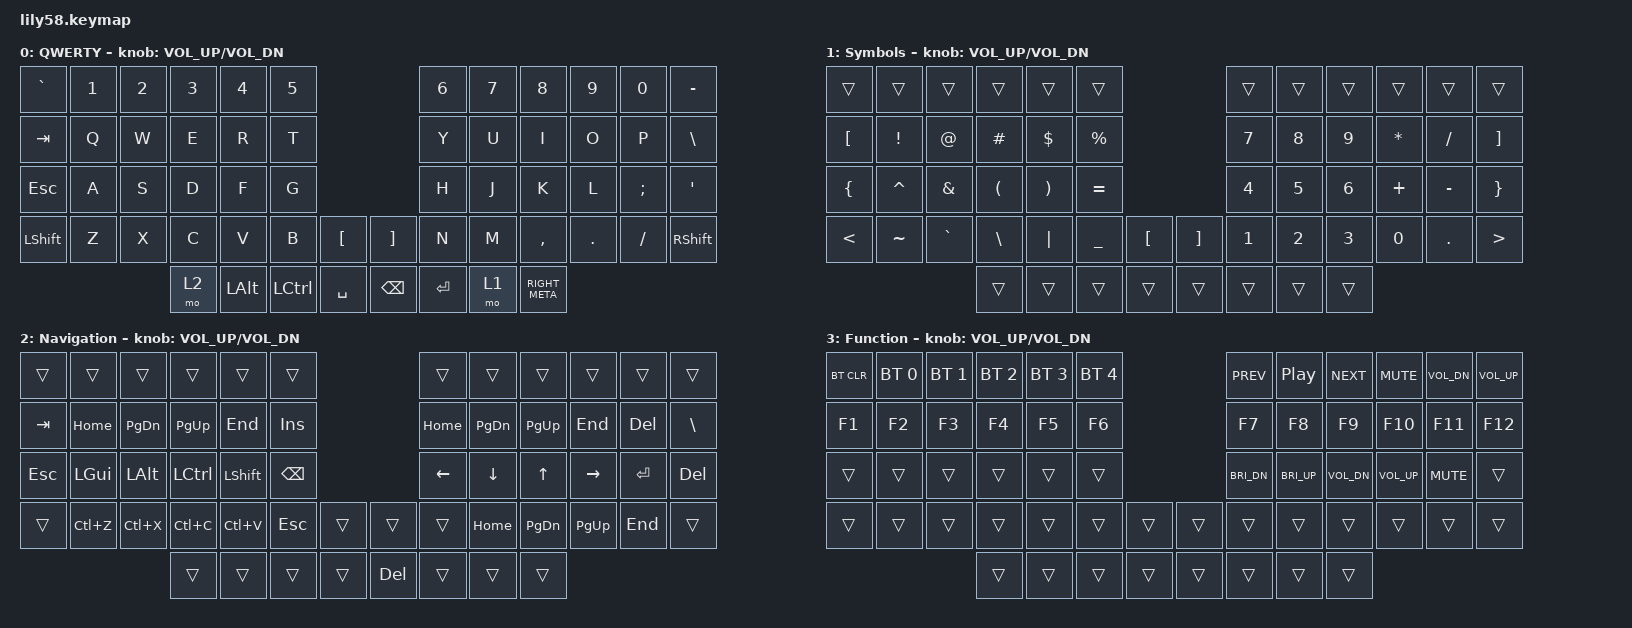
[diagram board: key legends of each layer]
/*
 * Lily58 — QWERTY / Corne-style Programmer / Vim
 *
 * Design goals:
 * - Standard QWERTY alphas for maximum cross-device fluency
 * - Corne-style 3x5 symbol/navigation philosophy; Lily58 extras are conveniences
 * - Dedicated thumb Space / Backspace / Enter
 * - Dedicated modifiers; no HRMs initially
 * - NAV with arrows on physical QWERTY H/J/K/L
 * - Programming symbols + right-hand numpad with no dependence on the number row
 * - Delimiter pairs arranged symmetrically on the symbol layer
 * - Tri-layer FN with Bluetooth/F/media controls
 * - Plain QWERTY gaming layer with no layer-tap leakage
 * - Preserve rotary encoder volume on every layer
 */

#include <behaviors.dtsi>
#include <dt-bindings/zmk/bt.h>
#include <dt-bindings/zmk/keys.h>

#define BASE 0
#define SYM  1
#define NAV  2
#define FN   3
#define GAME 4

/ {
    /*
     * SYM + NAV -> FN. FN is a higher layer than either input layer, as ZMK's
     * conditional-layer design expects.
     */

    conditional_layers {
        compatible = "zmk,conditional-layers";

        sym_nav_fn {
            if-layers = <1 2>;
            then-layer = <3>;
        };
    };

    keymap {
        compatible = "zmk,keymap";

        /*
         * BASE — standard QWERTY
         *
         * |  `  | 1 | 2 | 3 | 4 | 5 |                 | 6 | 7 | 8 | 9 | 0 | - |
         * | TAB | Q | W | E | R | T |                 | Y | U | I | O | P | \ |
         * | ESC | A | S | D | F | G |                 | H | J | K | L | ; | / |
         * | SFT | Z | X | C | V | B | [ |         | ] | N | M | , | . | ' |SFT|
         *                    |CTL|SYM|ALT|SPC|     |BSP|ENT|NAV|GUI|
         *
         * Notes:
         * - Enter moves from the outer pinky column to a right thumb.
         * - [] remain on the Lily inner keys as bonus direct access; SYM also
         *   provides them, so the symbol system does not depend on those extras.
         */

        base_layer {
            display-name = "QWERTY";
            bindings = <
&kp GRAVE   &kp N1  &kp N2  &kp N3  &kp N4        &kp N5                                            &kp N6     &kp N7  &kp N8          &kp N9   &kp N0     &kp MINUS
&kp TAB     &kp Q   &kp W   &kp E   &kp R         &kp T                                             &kp Y      &kp U   &kp I           &kp O    &kp P      &kp BSLH
&kp ESCAPE  &kp A   &kp S   &kp D   &kp F         &kp G                                             &kp H      &kp J   &kp K           &kp L    &kp SEMI   &kp SQT
&kp LSHFT   &kp Z   &kp X   &kp C   &kp V         &kp B      &kp LEFT_BRACKET    &kp RIGHT_BRACKET  &kp N      &kp M   &kp COMMA       &kp DOT  &kp SLASH  &kp RSHFT
                            &mo 2   &kp LEFT_ALT  &kp LCTRL  &kp SPACE           &kp BACKSPACE      &kp ENTER  &mo 1   &kp RIGHT_META
            >;

            sensor-bindings = <&inc_dec_kp C_VOL_UP C_VOL_DN>;
        };

        /*
         * SYM — Corne-style programmer symbols + right-hand numpad.
         *
         * Design borrowed from proven Corne patterns:
         * - ! @ # $ % live on the left alpha top row (no 1u shift).
         * - # and * are vertically paired, useful for Vim search navigation.
         * - -/= and _ are kept direct rather than hidden behind combos.
         * - Right hand is a memorable numpad.
         * - Delimiters are symmetric: [] on outer top, {} outer home,
         *   <> outer bottom, () on the Lily inner keys.
         * - The physical Lily58 number row is transparent here, so it remains
         *   usable for digits while SYM is held; SYM never depends on it.
         *
         *  [ | !  @  #  $  %                  7  8  9  /  * | ]
         *  { | ^  &  *  -  =                  4  5  6  +  - | }
         *  < | ~  `  \  |  _ | (          ) | 1  2  3  0  . | >
         */

        symbol_layer {
            display-name = "Symbols";
            bindings = <
&trans    &trans     &trans         &trans                &trans                 &trans                                            &trans  &trans  &trans  &trans        &trans     &trans
&kp LBKT  &kp EXCL   &kp AT         &kp HASH              &kp DOLLAR             &kp PRCNT                                         &kp N7  &kp N8  &kp N9  &kp ASTERISK  &kp SLASH  &kp RBKT
&kp LBRC  &kp CARET  &kp AMPERSAND  &kp LEFT_PARENTHESIS  &kp RIGHT_PARENTHESIS  &kp EQUAL                                         &kp N4  &kp N5  &kp N6  &kp PLUS      &kp MINUS  &kp RBRC
&kp LT    &kp TILDE  &kp GRAVE      &kp BSLH              &kp PIPE               &kp UNDER  &kp LEFT_BRACKET    &kp RIGHT_BRACKET  &kp N1  &kp N2  &kp N3  &kp N0        &kp DOT    &kp GT
                                    &trans                &trans                 &trans     &trans              &trans             &trans  &trans  &trans
            >;

            sensor-bindings = <&inc_dec_kp C_VOL_UP C_VOL_DN>;
        };

        /*
         * NAV — hold the right-thumb NAV key.
         *
         * Right-hand home-row QWERTY H/J/K/L physical positions:
         *     LEFT  DOWN  UP  RIGHT
         *
         * Opposite-hand home row:
         *     GUI   ALT   CTRL SHIFT
         *
         * This makes modifier+arrow operations comfortable while leaving
         * semantic Vim commands entirely stock.
         */

        nav_layer {
            display-name = "Navigation";
            bindings = <
&trans      &trans        &trans        &trans     &trans     &trans                               &trans    &trans     &trans        &trans     &trans      &trans
&kp TAB     &kp HOME      &kp PG_DN     &kp PG_UP  &kp END    &kp INSERT                           &kp HOME  &kp PG_DN  &kp PG_UP     &kp END    &kp DELETE  &kp BSLH
&kp ESCAPE  &kp LEFT_GUI  &kp LEFT_ALT  &kp LCTRL  &kp LSHFT  &kp BACKSPACE                        &kp LEFT  &kp DOWN   &kp UP_ARROW  &kp RIGHT  &kp ENTER   &kp DELETE
&trans      &kp LC(Z)     &kp LC(X)     &kp LC(C)  &kp LC(V)  &kp ESCAPE     &trans    &trans      &trans    &kp HOME   &kp PG_DN     &kp PG_UP  &kp END     &trans
                                        &trans     &trans     &trans         &trans    &kp DELETE  &trans    &trans     &trans
            >;

            sensor-bindings = <&inc_dec_kp C_VOL_UP C_VOL_DN>;
        };

        /*
         * FN — active only while SYM + NAV are held.
         *
         * Core functionality preserved from the original keymap:
         *   BT clear + all five BT profiles
         *   F1-F12
         *   encoder volume
         *
         * Added useful media/brightness controls and the GAME toggle.
         * BT_CLR remains behind a deliberate three-key chord, reducing the
         * chance of accidentally erasing the current bond.
         */

        function_layer {
            display-name = "Function";
            bindings = <
&bt BT_CLR  &bt BT_SEL 0  &bt BT_SEL 1  &bt BT_SEL 2  &bt BT_SEL 3  &bt BT_SEL 4                    &kp C_PREV    &kp C_PP      &kp C_NEXT    &kp C_MUTE    &kp C_VOL_DN  &kp C_VOL_UP
&kp F1      &kp F2        &kp F3        &kp F4        &kp F5        &kp F6                          &kp F7        &kp F8        &kp F9        &kp F10       &kp F11       &kp F12
&trans      &trans        &trans        &trans        &trans        &trans                          &kp C_BRI_DN  &kp C_BRI_UP  &kp C_VOL_DN  &kp C_VOL_UP  &kp C_MUTE    &trans
&trans      &trans        &trans        &trans        &trans        &trans        &trans    &trans  &trans        &trans        &trans        &trans        &trans        &trans
                                        &trans        &trans        &trans        &trans    &trans  &trans        &trans        &trans
            >;

            sensor-bindings = <&inc_dec_kp C_VOL_UP C_VOL_DN>;
        };

        /*
         * GAME — plain QWERTY + physical number row.
         *
         * No &trans on the former SYM/NAV thumb positions: those positions are
         * ordinary modifiers instead, so holding them cannot accidentally
         * activate typing layers mid-game.
         *
         * Either inner key exits GAME.
         */
    };
};
